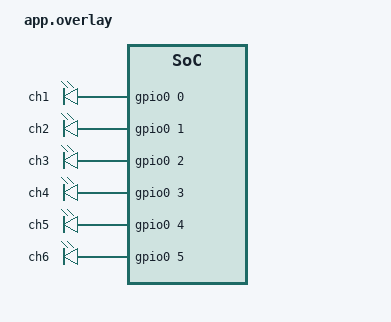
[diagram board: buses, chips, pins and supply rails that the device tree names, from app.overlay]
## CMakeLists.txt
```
# SPDX-License-Identifier: Apache-2.0

cmake_minimum_required(VERSION 3.20.0)

set(KCONFIG_ROOT ${CMAKE_CURRENT_SOURCE_DIR}/../../Kconfig)

find_package(Zephyr REQUIRED HINTS $ENV{ZEPHYR_BASE})
project(rp2350_relay_6ch_relay_tests)

target_include_directories(app PRIVATE ../../include ../support/include)
target_sources(app PRIVATE
  src/main.c ../../src/health.c ../../src/relay.c ../../src/reboot.c
  ../../src/indicator.c
)
```

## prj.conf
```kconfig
CONFIG_ZTEST=y
CONFIG_GPIO=y
CONFIG_GPIO_EMUL=y
CONFIG_LOG=y
```

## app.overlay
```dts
/ {
	relays {
		compatible = "gpio-leds";

		ch1 {
			gpios = <&gpio0 0 GPIO_ACTIVE_HIGH>;
		};

		ch2 {
			gpios = <&gpio0 1 GPIO_ACTIVE_HIGH>;
		};

		ch3 {
			gpios = <&gpio0 2 GPIO_ACTIVE_HIGH>;
		};

		ch4 {
			gpios = <&gpio0 3 GPIO_ACTIVE_HIGH>;
		};

		ch5 {
			gpios = <&gpio0 4 GPIO_ACTIVE_HIGH>;
		};

		ch6 {
			gpios = <&gpio0 5 GPIO_ACTIVE_HIGH>;
		};
	};
};
```

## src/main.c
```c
/*
 * SPDX-License-Identifier: Apache-2.0
 */

#include <zephyr/ztest.h>

#include <rp2350_relay_6ch/health.h>
#include <rp2350_relay_6ch/relay.h>
#include <rp2350_relay_6ch_test/health.h>

static void *relay_suite_setup(void)
{
	health_test_reset();
	zassert_equal(relay_init(), 0, "relay_init failed");
	health_set_relay_gpio_ready(true);
	health_set_rpc_ready(true);
	return NULL;
}

static void relay_before(void *fixture)
{
	ARG_UNUSED(fixture);

	health_test_reset();
	zassert_equal(relay_off_all(), 0, "relay_off_all failed");
	health_set_relay_gpio_ready(true);
	health_set_rpc_ready(true);
}

static void relay_after(void *fixture)
{
	ARG_UNUSED(fixture);

	zassert_equal(relay_off_all(), 0, "relay_off_all failed");
}

ZTEST_SUITE(relay, NULL, relay_suite_setup, relay_before, relay_after, NULL);

ZTEST(relay, test_default_off)
{
	uint8_t state_mask = 0xffU;

	zassert_equal(relay_count(), RP2350_RELAY_6CH_CHANNEL_COUNT);
	zassert_equal(relay_get_all(&state_mask), 0);
	zassert_equal(state_mask, 0U);
}

ZTEST(relay, test_set_one)
{
	bool on = false;
	uint8_t state_mask;
	struct health_snapshot snap;

	zassert_equal(relay_set(0U, true), 0);
	health_snapshot(&snap);
	zassert_equal(snap.state, HEALTH_RELAY_ACTIVE);
	zassert_equal(snap.relay_state_mask, BIT(0));
	zassert_equal(snap.pulse_mask, 0U);
	zassert_equal(relay_get(0U, &on), 0);
	zassert_true(on);

	zassert_equal(relay_get_all(&state_mask), 0);
	zassert_equal(state_mask, BIT(0));

	zassert_equal(relay_set(0U, false), 0);
	health_snapshot(&snap);
	zassert_equal(snap.state, HEALTH_NORMAL);
	zassert_equal(snap.relay_state_mask, 0U);
	zassert_equal(relay_get(0U, &on), 0);
	zassert_false(on);
}

ZTEST(relay, test_set_all)
{
	uint8_t state_mask;
	struct health_snapshot snap;

	zassert_equal(relay_set_all(BIT_MASK(RP2350_RELAY_6CH_CHANNEL_COUNT)), 0);
	health_snapshot(&snap);
	zassert_equal(snap.state, HEALTH_RELAY_ACTIVE);
	zassert_equal(snap.relay_state_mask, BIT_MASK(RP2350_RELAY_6CH_CHANNEL_COUNT));
	zassert_equal(relay_get_all(&state_mask), 0);
	zassert_equal(state_mask, BIT_MASK(RP2350_RELAY_6CH_CHANNEL_COUNT));
}

ZTEST(relay, test_off_all)
{
	uint8_t state_mask;
	struct health_snapshot snap;

	zassert_equal(relay_set_all(BIT_MASK(RP2350_RELAY_6CH_CHANNEL_COUNT)), 0);
	zassert_equal(relay_off_all(), 0);
	health_snapshot(&snap);
	zassert_equal(snap.state, HEALTH_NORMAL);
	zassert_equal(snap.relay_state_mask, 0U);
	zassert_equal(snap.pulse_mask, 0U);
	zassert_equal(relay_get_all(&state_mask), 0);
	zassert_equal(state_mask, 0U);
}

ZTEST(relay, test_invalid_channel_rejected)
{
	bool on = false;

	zassert_equal(relay_set(RP2350_RELAY_6CH_CHANNEL_COUNT, true), -EINVAL);
	zassert_equal(relay_get(RP2350_RELAY_6CH_CHANNEL_COUNT, &on), -EINVAL);
}

ZTEST(relay, test_invalid_state_mask_rejected)
{
	zassert_equal(relay_set_all(BIT(RP2350_RELAY_6CH_CHANNEL_COUNT)), -EINVAL);
}

ZTEST(relay, test_null_outputs_rejected)
{
	zassert_equal(relay_get(0U, NULL), -EINVAL);
	zassert_equal(relay_get_all(NULL), -EINVAL);
	zassert_equal(relay_is_pulsing(0U, NULL), -EINVAL);
}

ZTEST(relay, test_pulse_turns_on_then_off)
{
	bool on = false;
	bool pulsing = false;
	struct health_snapshot snap;

	zassert_equal(relay_pulse(0U, RP2350_RELAY_6CH_PULSE_MIN_MS), 0);
	health_snapshot(&snap);
	zassert_equal(snap.state, HEALTH_RELAY_ACTIVE);
	zassert_equal(snap.relay_state_mask, BIT(0));
	zassert_equal(snap.pulse_mask, BIT(0));
	zassert_equal(relay_get(0U, &on), 0);
	zassert_true(on);
	zassert_equal(relay_is_pulsing(0U, &pulsing), 0);
	zassert_true(pulsing);

	k_msleep(RP2350_RELAY_6CH_PULSE_MIN_MS + 10U);

	health_snapshot(&snap);
	zassert_equal(snap.state, HEALTH_NORMAL);
	zassert_equal(snap.relay_state_mask, 0U);
	zassert_equal(snap.pulse_mask, 0U);
	zassert_equal(relay_get(0U, &on), 0);
	zassert_false(on);
	zassert_equal(relay_is_pulsing(0U, &pulsing), 0);
	zassert_false(pulsing);
}

ZTEST(relay, test_pulse_duration_bounds)
{
	zassert_equal(relay_pulse(0U, RP2350_RELAY_6CH_PULSE_MIN_MS - 1U), -EINVAL);
	zassert_equal(relay_pulse(0U, RP2350_RELAY_6CH_PULSE_MAX_MS + 1U), -EINVAL);
	zassert_equal(relay_pulse(0U, RP2350_RELAY_6CH_PULSE_MIN_MS), 0);
}

ZTEST(relay, test_pulse_invalid_channel_rejected)
{
	bool pulsing = false;

	zassert_equal(relay_pulse(RP2350_RELAY_6CH_CHANNEL_COUNT,
				  RP2350_RELAY_6CH_PULSE_MIN_MS),
		      -EINVAL);
	zassert_equal(relay_is_pulsing(RP2350_RELAY_6CH_CHANNEL_COUNT, &pulsing),
		      -EINVAL);
}

ZTEST(relay, test_pulse_rejects_busy_relay)
{
	zassert_equal(relay_pulse(0U, 100U), 0);
	zassert_equal(relay_pulse(0U, 100U), -EBUSY);
}

ZTEST(relay, test_off_all_cancels_pulse)
{
	bool on = false;
	bool pulsing = false;
	struct health_snapshot snap;

	zassert_equal(relay_pulse(0U, 100U), 0);
	zassert_equal(relay_off_all(), 0);
	health_snapshot(&snap);
	zassert_equal(snap.state, HEALTH_NORMAL);
	zassert_equal(snap.relay_state_mask, 0U);
	zassert_equal(snap.pulse_mask, 0U);

	zassert_equal(relay_get(0U, &on), 0);
	zassert_false(on);
	zassert_equal(relay_is_pulsing(0U, &pulsing), 0);
	zassert_false(pulsing);

	k_msleep(110U);

	zassert_equal(relay_get(0U, &on), 0);
	zassert_false(on);
}

ZTEST(relay, test_direct_set_cancels_pulse_timeout)
{
	bool on = false;
	bool pulsing = false;

	zassert_equal(relay_pulse(0U, 100U), 0);
	zassert_equal(relay_set(0U, true), 0);
	zassert_equal(relay_is_pulsing(0U, &pulsing), 0);
	zassert_false(pulsing);

	k_msleep(110U);

	zassert_equal(relay_get(0U, &on), 0);
	zassert_true(on);
}
```
